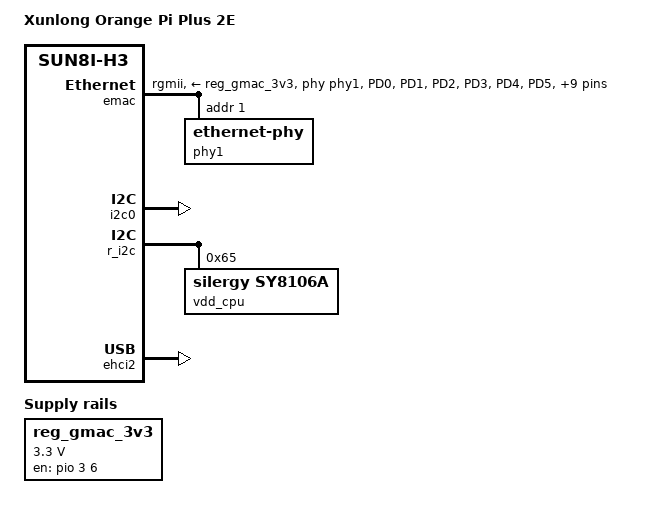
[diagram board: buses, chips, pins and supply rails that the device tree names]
/*-
 * Copyright (c) 2016 Jared McNeill <jmcneill@invisible.ca>
 * All rights reserved.
 *
 * Redistribution and use in source and binary forms, with or without
 * modification, are permitted provided that the following conditions
 * are met:
 * 1. Redistributions of source code must retain the above copyright
 *    notice, this list of conditions and the following disclaimer.
 * 2. Redistributions in binary form must reproduce the above copyright
 *    notice, this list of conditions and the following disclaimer in the
 *    documentation and/or other materials provided with the distribution.
 *
 * THIS SOFTWARE IS PROVIDED BY THE AUTHOR AND CONTRIBUTORS ``AS IS'' AND
 * ANY EXPRESS OR IMPLIED WARRANTIES, INCLUDING, BUT NOT LIMITED TO, THE
 * IMPLIED WARRANTIES OF MERCHANTABILITY AND FITNESS FOR A PARTICULAR PURPOSE
 * ARE DISCLAIMED.  IN NO EVENT SHALL THE AUTHOR OR CONTRIBUTORS BE LIABLE
 * FOR ANY DIRECT, INDIRECT, INCIDENTAL, SPECIAL, EXEMPLARY, OR CONSEQUENTIAL
 * DAMAGES (INCLUDING, BUT NOT LIMITED TO, PROCUREMENT OF SUBSTITUTE GOODS
 * OR SERVICES; LOSS OF USE, DATA, OR PROFITS; OR BUSINESS INTERRUPTION)
 * HOWEVER CAUSED AND ON ANY THEORY OF LIABILITY, WHETHER IN CONTRACT, STRICT
 * LIABILITY, OR TORT (INCLUDING NEGLIGENCE OR OTHERWISE) ARISING IN ANY WAY
 * OUT OF THE USE OF THIS SOFTWARE, EVEN IF ADVISED OF THE POSSIBILITY OF
 * SUCH DAMAGE.
 *
 * $FreeBSD$
 */

#include "sun8i-h3-orangepi-plus.dts"

/ {
	soc {
		emac: ethernet@1c30000 {
			compatible = "allwinner,sun8i-h3-emac";
			reg = <0x01c30000 0x104>, <0x01c00030 0x4>;
			reg-names = "emac", "syscon";
			interrupts = <GIC_SPI 82 IRQ_TYPE_LEVEL_HIGH>;
			resets = <&ahb_rst 17>;
			reset-names = "ahb";
			clocks = <&bus_gates 17>;
			clock-names = "ahb";
			#address-cells = <1>;
			#size-cells = <0>;
			status = "disabled";
		};

		i2c0: i2c@1c2ac00 {
			compatible = "allwinner,sun6i-a31-i2c";
			reg = <0x01c2ac00 0x400>;
			interrupts = <GIC_SPI 6 IRQ_TYPE_LEVEL_HIGH>;
			clocks = <&bus_gates 96>;
			resets = <&apb2_rst 0>;
			status = "disabled";
			#address-cells = <1>;
			#size-cells = <0>;
		};

		i2c1: i2c@1c2b000 {
			compatible = "allwinner,sun6i-a31-i2c";
			reg = <0x01c2b000 0x400>;
			interrupts = <GIC_SPI 7 IRQ_TYPE_LEVEL_HIGH>;
			clocks = <&bus_gates 97>;
			resets = <&apb2_rst 1>;
			status = "disabled";
			#address-cells = <1>;
			#size-cells = <0>;
		};

		i2c2: i2c@1c2b400 {
			compatible = "allwinner,sun6i-a31-i2c";
			reg = <0x01c2b400 0x400>;
			interrupts = <GIC_SPI 8 IRQ_TYPE_LEVEL_HIGH>;
			clocks = <&bus_gates 98>;
			resets = <&apb2_rst 2>;
			status = "disabled";
			#address-cells = <1>;
			#size-cells = <0>;
		};

		r_i2c: i2c@1f02400 {
			compatible = "allwinner,sun6i-a31-i2c";
			reg = <0x01f02400 0x400>;
			interrupts = <GIC_SPI 44 IRQ_TYPE_LEVEL_HIGH>;
			status = "disabled";
			#address-cells = <1>;
			#size-cells = <0>;
		};
	};
};

&mmc0_pins_a {
	allwinner,pull = <SUN4I_PINCTRL_PULL_UP>;
};

&pio {
        emac_pins_rgmii_a: emac_rgmii@0 {
                allwinner,pins = "PD0", "PD1", "PD2", "PD3", "PD4", "PD5",
                		 "PD7", "PD8", "PD9", "PD10", "PD12", "PD13",
				 "PD15", "PD16", "PD17";
                allwinner,function = "emac";
                allwinner,drive = <SUN4I_PINCTRL_40_MA>;
                allwinner,pull = <SUN4I_PINCTRL_NO_PULL>;
        };

	emac_phy_reset_pin: emac_phy_reset_pin@0 {
		allwinner,pins = "PD6";
		allwinner,function = "gpio_out";
		allwinner,drive = <SUN4I_PINCTRL_10_MA>;
		allwinner,pull = <SUN4I_PINCTRL_NO_PULL>;
	};
};


/*
 * Board-specific stuff here
 */

/ {
	model = "Xunlong Orange Pi Plus 2E";
	compatible = "xunlong,orangepi-plus-2e", "allwinner,sun8i-h3";

	reg_gmac_3v3: gmac-3v3 {
		compatible = "regulator-fixed";
		pinctrl-names = "default";
		pinctrl-0 = <&emac_phy_reset_pin>;
		regulator-name = "gmac-3v3";
		regulator-min-microvolt = <3300000>;
		regulator-max-microvolt = <3300000>;
		startup-delay-us = <100000>;
		enable-active-high;
		gpio = <&pio 3 6 GPIO_ACTIVE_HIGH>;
	};
};

&emac {
	pinctrl-names = "default";
	pinctrl-0 = <&emac_pins_rgmii_a>;
	phy-supply = <&reg_gmac_3v3>;
	phy-mode = "rgmii";
	phy = <&phy1>;

	allwinner,leds-active-low;
	status = "okay";

	phy1: ethernet-phy@1 {
		reg = <1>;
	};
};

&ehci2 {
	status = "okay";
};

&i2c0 {
	status = "okay";
};

&r_i2c {
	status = "okay";

	vdd_cpu: regulator@65 {
		compatible = "silergy,sy8106a";
		reg = <0x65>;

		regulator-name = "vdd-cpu";
		regulator-min-microvolt = <1000000>;
		regulator-max-microvolt = <1400000>;
		regulator-ramp-delay = <200>;
		regulator-boot-on;
		regulator-always-on;
	};
};
